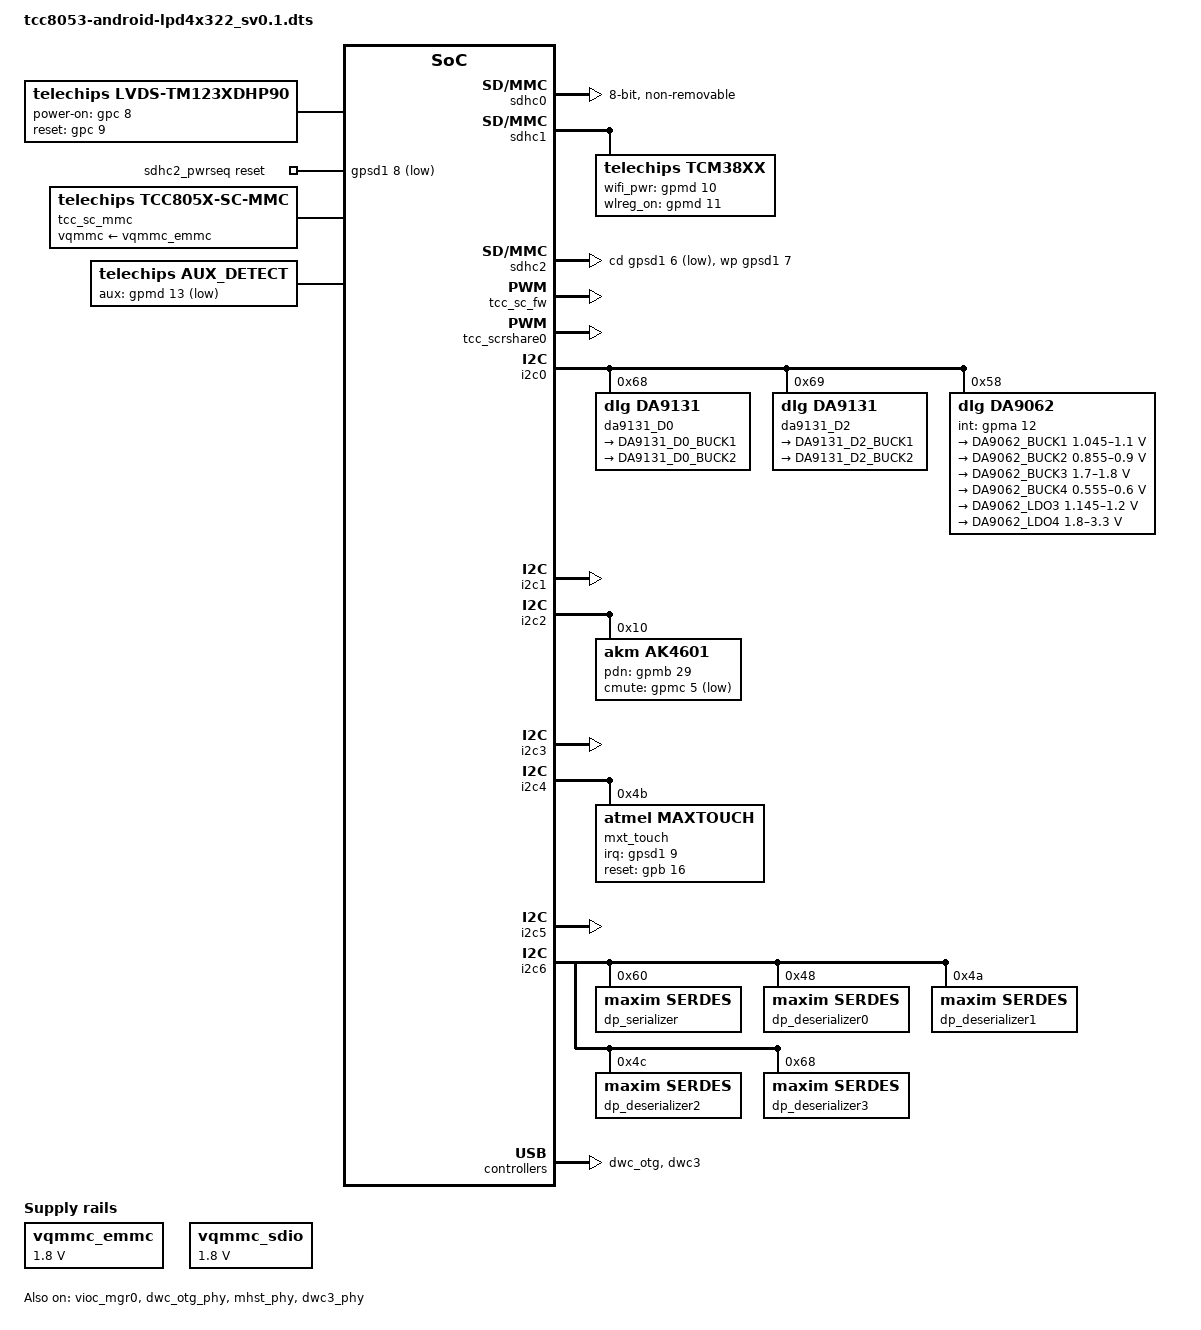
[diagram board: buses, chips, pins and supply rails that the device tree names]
// SPDX-License-Identifier: (GPL-2.0-or-later OR MIT)
/*
 * Copyright (C) Telechips Inc.
 * Device tree for Telechips TCC8053 AVN board
 */

#ifndef DT_OVERLAY
/dts-v1/;
#endif

#include "tcc8053-android-avn.dtsi"

/* Definition for H/W LCD ports */
#define LCD_PORT1_PWR "gpmc-19"
#define LCD_PORT1_RST "gpmc-20"
#define LCD_PORT1_BLK "gph-6"

#define LCD_PORT2_PWR "gpc-8"
#define LCD_PORT2_RST "gpc-9"
#define LCD_PORT2_BLK "gph-7"

#define LCD_PORT3_PWR "gpmc-2"
#define LCD_PORT3_RST "gpmc-18"
#define LCD_PORT3_BLK "gpe-15"

#define LCD_PORT4_PWR "gpmb-25"
#define LCD_PORT4_RST "gpmb-19"
#define LCD_PORT4_BLK "gpmc-21"

#include "tcc8053-android-avn-display.dtsi"

/ {
	/* Describe here after remove this statement if you have something to be override. */
	tm123xdhp90 {
		compatible = "telechips,lvds-tm123xdhp90";
		status = "okay";
		lvds0 = <&lvds_phy>;
		power-on-gpios = <&gpc 8 0>;   // LCD_ON
		reset-gpios = <&gpc 9 0>;    // LCD_RST
		/*
			 display-on-gpios = ;    // LCD_DISP
			 lvds-stby-gpios = ;   // LCD_DE = LVDS_STBY in LVDS
			 lvds-power-gpios = ;    // LVDS_EN
			 lvds-power-gpios1 = ;   // V_5V0_EN
		 */
		mode = <1>;   /* 0: single 1: dual */
		ports = <2 3>;
		mux-select = <2>;
	};

	vqmmc_emmc: vqmmc_emmc {
		compatible = "regulator-fixed";
		regulator-name = "vqmmc_emmc";
		regulator-min-microvolt = <1800000>;
		regulator-max-microvolt = <1800000>;
		regulator-always-on;
	};

	sdhc2_pwrseq: sdhc2_pwrseq {
		compatible = "mmc-pwrseq-simple";
		reset-gpios = <&gpsd1 8 GPIO_ACTIVE_LOW>;
	};

	vqmmc_sdio: vqmmc_sdio {
		compatible = "regulator-fixed";
		regulator-name = "vqmmc_sdio";
		regulator-min-microvolt = <1800000>;
		regulator-max-microvolt = <1800000>;
		regulator-always-on;
	};

	tcc_sc_mmc: tcc_sc_mmc {
		compatible = "telechips,tcc805x-sc-mmc";
		status = "okay";

		max-frequency = <200000000>;
		bus-width = <8>;

		sc-firmware = <&tcc_sc_fw>;

		no-sdio;
		no-sd;
		non-removable;
		keep-power-in-suspend;
		disable-wp;

		mmc-hs400-1_8v;
		vqmmc-supply = <&vqmmc_emmc>;
	};

	tcc_sc_ufs: tcc_sc_ufs {
		compatible = "telechips,tcc805x-sc-ufs";
		status = "okay";
		sc-firmware = <&tcc_sc_fw>;
	};

	aux_detect {
		compatible = "telechips,aux_detect";
		status = "okay";

		pinctrl-names = "default";
		pinctrl-0 = <&aux_detect_pin>;

		aux-gpios = <&gpmd 13 1>;
		aux-active = <1>;
	};
};

/* eMMC */
&sdhc0 {
	bus-width = <8>;
	pinctrl-names = "default";
	pinctrl-0 = <&sd0_clk &sd0_cmd &sd0_bus8 &sd0_strb>;

	sdhci-caps-mask = <0x7 0x0>;

	non-removable;
	keep-power-in-suspend;
	disable-wp;
	cap-mmc-hw-reset;

	mmc-hs400-1_8v;
	tcc-mmc-taps = <0xF 0xF 0xF 0xF>;
	tcc-mmc-hs400-pos-tap = <0x6>;
	tcc-mmc-hs400-neg-tap = <0xB>;

	tcc-mmc-reset = <&gpsd0 14 0>;

	vqmmc-supply = <&vqmmc_emmc>;
};

&sd0_clk {
	telechips,no-pull;
};

&sd0_cmd {
	telechips,no-pull;
};

&sd0_bus8 {
	telechips,no-pull;
};

/* SDIO */
&sdhc1 {
	status = "okay";
	pinctrl-names = "default";
	pinctrl-0 = <&sd1_clk &sd1_cmd &sd1_bus4 &out0_clk>;

	keep-power-in-suspend;
	cap-sdio-irq;

	vqmmc-supply = <&vqmmc_sdio>;

	cd-force-presence-change;

	tcm38xx {
		compatible = "telechips,tcm38xx";
		wifi_pwr-gpio = <&gpmd 10 0>; /* BT_WIFI_VBAT_EN */
		wlreg_on-gpio = <&gpmd 11 0>; /* WIFI_REG_ON */
		//wifi_pwr_1p8v-gpio = <&gpsd1 6 0>;
		//wifi_pwr_3p3v-gpio = <&gpsd1 7 0>;
	};
};

&sd1_clk {
	telechips,pull-up;
};

&sd1_cmd {
	telechips,pull-up;
};

&sd1_bus4 {
	telechips,pull-up;
};

/* SD slot */
&sdhc2 {
#ifdef CONFIG_MMC_SDHCI_TCC_MODULE_ONLY
	/*
	 * In order to reduce boot time,
	 * we use the driver as module not built-in.
	 */
	compatible = "telechips,tcc805x-sdhci,module-only";
#endif
	status = "okay";
	pinctrl-names = "default";
	pinctrl-0 = <&sd2_clk &sd2_cmd &sd2_bus4 &sd1_bus4_wp_cd &sd1_pwr>;

	broken-cd;
	cd-inverted;
	keep-power-in-suspend;

	wp-gpios = <&gpsd1 7 0>;
	cd-gpios = <&gpsd1 6 0>;

	mmc-pwrseq = <&sdhc2_pwrseq>;
	vqmmc-supply = <&DA9062_LDO4>;
};

&sd2_clk {
	telechips,no-pull;
};

&sd2_cmd {
	telechips,no-pull;
};

&sd2_bus4 {
	telechips,no-pull;
};

&a72_sc_mbox {
	status = "okay";
};

&tcc_sc_fw {
	status = "okay";
	mboxes = <&a72_sc_mbox 0>;
};

&tcc_scrshare0{
        status = "okay";
};

&vioc_mgr0 {
        status = "okay";
};

&rotary_encoder0 {
	compatible = "rotary-encoder";
	status = "disable";                 //To use it, change the status from disable to okay
	//pinctrl-names = "default";
	//pinctrl-0 = <&mc_vol>;			//Set gpio to match device
										//Interruptable gpio should be used
	//gpios = <&gpma 5 1>, <&gpma 6 1>;	//Set gpio to match device
										//Interruptable gpio should be used
	linux,axis = <0>;
	rotary-encoder,relative-axis;
};

&rotary_encoder1 {
	compatible = "rotary-encoder";
	status = "disable";                 //To use it, change the status from disable to okay
	//pinctrl-names = "default";
	//pinctrl-0 = <&mc_ctr>;			//Set gpio to match device
										//Interruptable gpio should be used
	//gpios = <&gpma 7 1>, <&gpma 8 1>;	//Set gpio to match device
										//Interruptable gpio should be used
	linux,axis = <0>;
	rotary-encoder,relative-axis;
};

&i2c0 {
	status = "okay";
	port-mux = <22>;
	pinctrl-names = "default";
	pinctrl-0 = <&i2c22_bus>;

	/* pmic da9131-D0 */
	da9131_D0: pmic@68 {
		compatible = "dlg,da9131";
		reg = <0x68>;

		regulators {
			DA9131_D0_BUCK1: buck1 {
				regulator-name = "core_0p8";
				regulator-always-on;
				regulator-boot-on;
			};

			DA9131_D0_BUCK2: buck2 {
				regulator-name = "gb_0p8";
				regulator-always-on;
				regulator-boot-on;
			};
		};
	}; /* pmic da9131-D0 */

	/* pmic da9131-D2 */
	da9131_D2: pmic@69 {
		compatible = "dlg,da9131";
		reg = <0x69>;

		regulators {
			DA9131_D2_BUCK1: buck1 {
				regulator-name = "cpu_1p0";
				regulator-always-on;
				regulator-boot-on;
			};

			DA9131_D2_BUCK2: buck2 {
				regulator-name = "io_3p3";
				regulator-always-on;
				regulator-boot-on;
			};
		};
	}; /* pmic da9131-D2 */

	da9062: pmic@58 {
		compatible = "dlg,da9062";
		reg = <0x58>;
		int-gpios = <&gpma 12 0>;

		da9062_gpio: gpio {
			compatible = "dlg,da9062-gpio";
			gpio-controller;
			#gpio-cells = <2>;
		};

		regulators {
			DA9062_BUCK1: buck1 {
				regulator-name = "memq_1p1";
				regulator-min-microvolt = <1045000>;
				regulator-max-microvolt = <1100000>;
				regulator-always-on;
				regulator-boot-on;
			};

			DA9062_BUCK2: buck2 {
				regulator-name = "cpu_0p9v";
				regulator-min-microvolt = <855000>;
				regulator-max-microvolt = <900000>;
				regulator-always-on;
				regulator-boot-on;
			};

			DA9062_BUCK3: buck3 {
				regulator-name = "io_1p8";
				regulator-min-microvolt = <1700000>;
				regulator-max-microvolt = <1800000>;
				regulator-always-on;
				regulator-boot-on;
			};

			DA9062_BUCK4: buck4 {
				regulator-name = "memq_0p6";
				regulator-min-microvolt = <555000>;
				regulator-max-microvolt = <600000>;
				regulator-always-on;
				regulator-boot-on;
			};
#if 0
			/* Temp block for LDO2. Block min-microvolt of LDO2 */
			DA9062_LDO2: ldo2 {
				regulator-name = "mem_1p8";
				regulator-min-microvolt = <1700000>;
				regulator-max-microvolt = <1800000>;
				regulator-always-on;
				regulator-boot-on;
			};
#endif
			DA9062_LDO3: ldo3 {
				regulator-name = "mipi_1p2";
				regulator-min-microvolt = <1145000>;
				regulator-max-microvolt = <1200000>;
				regulator-always-on;
				regulator-boot-on;
			};

			DA9062_LDO4: ldo4 {
				regulator-name = "sdio_pwr";
				regulator-min-microvolt = <1800000>;
				regulator-max-microvolt = <3300000>;
				regulator-always-on;
				regulator-boot-on;
			};
		};
	}; /* pmic da9062 */
};

&i2c1 {
	status = "okay";
	port-mux = <10>; /* [0]SCL [1]SDA */
	pinctrl-names = "default";
	pinctrl-0 = <&i2c10_bus>;
};

&i2c2 {
	status = "okay";
	port-mux = <30>; /* [0]SCL [1]SDA */
	pinctrl-names = "default";
	pinctrl-0 = <&i2c30_bus>;
	ak4601: ak4601@10 {
		compatible = "akm,ak4601";
		ak4601,pdn-gpio = <&gpmb 29 0>;
		cmute-gpios = <&gpmc 5 1>;     //CODEC_MUTE    0: active high, 1: active low
		//amute-gpios = <&gpma 1 1>;       //AMP_MUTE      0: active high, 1: active low
		//stanby-gpios = <&gpma 2 0>;     //AMP_STBY      0: active high, 1: active low
		reg = <0x10>;
	};
};

&i2c3 {
	status = "okay";
	port-mux = <11>; /* [0]SCL [1]SDA */
	pinctrl-names = "default";
	pinctrl-0 = <&i2c11_bus>;
};

&i2c4 {
	status = "okay";
	port-mux = <6>; /* [0]SCL [1]SDA */
	pinctrl-names = "default";
	pinctrl-0 = <&i2c6_bus>;

	mxt_touch@4b {
		compatible = "atmel,maxtouch";
		status = "okay";
		reg = <0x4b>;
		pinctrl-names = "default";
		pinctrl-0 = <&tsc0_default>;
		irq-gpios = <&gpsd1 9 0x0>;
		reset-gpios = <&gpb 16 0x0>;
	};
};

&i2c5 {
	status = "okay";
	port-mux = <33>; /* [0]SCL [1]SDA */
	pinctrl-names = "default";
	pinctrl-0 = <&i2c33_bus>;

	mxt_touch@4d {
		compatible = "atmel,maxtouch";
		status = "disabled";
		reg = <0x4d>;
		pinctrl-names = "default";
		pinctrl-0 = <&tsc1_default>;
		irq-gpios = <&gpa 21 0x0>;
		reset-gpios = <&gpmd 8 0x0>;
	};

	mxt_touch@4f {
		compatible = "atmel,maxtouch";
		status = "disabled";
		reg = <0x4f>;
		pinctrl-names = "default";
		pinctrl-0 = <&tsc2_default>;
		irq-gpios = <&gpc 13 0x0>;
		reset-gpios = <&gpc 12 0x0>;
	};
};

&i2c6 {
		status = "okay";
		port-mux = <37>;
		pinctrl-names = "default";
		pinctrl-0 = <&i2c37_bus>;

		dp_serializer:max96851@60 {
			compatible	= "maxim,serdes";
			reg		= <0x60>;
		};

		dp_deserializer0:max96878@48 {
			compatible	= "maxim,serdes";
			reg		= <0x48>;
		};

		dp_deserializer1:max96878@4A {
			compatible	= "maxim,serdes";
			reg		= <0x4A>;
		};

		dp_deserializer2:max96878@4C {
			compatible	= "maxim,serdes";
			reg		= <0x4C>;
		};

		dp_deserializer3:max96878@68 {
			compatible	= "maxim,serdes";
			reg		= <0x68>;
		};
};

&max968xx_config {
	compatible = "telechips,max968xx_configuration";
	max968xx_evb_type = <1>; /* 0: TCC8059 EVB, 1: TCC8050/3 sv0.1, 2:TCC8050/3 sv1.0 */
	max96851_lane_02_13_swap = <1>;

	pinctrl-names = "default", "default";
	pinctrl-0 = <&serdes_intb_sv01>;
	pinctrl-1 = <&serdes_lock>;
};

/* USB 2.0 Host */
&ehci_phy {
	status = "disabled";
	vbus-ctrl-able;
	vbus-gpio = <&gpmc 7 0>; /* 0 : GPIO_ACTIVE_HIGH, 1 : GPIO_ACTIVE_LOW */
};

&ehci {
	status = "disabled";
	hcd_id = <0>;
	phy-type = <1>; /* 0 : Nano PHY, 1 : Pico PHY */
	TXVRT = <0xB>;
	TXRISET = <0x3>;
	TXAT = <0x1>;
};

&ohci {
	status = "disabled";
};

/* USB 2.0 DRD */
&dwc_otg_phy {
	status = "okay";
	vbus-ctrl-able;
	vbus-gpio = <&gpmc 6 0>; /* 0 : GPIO_ACTIVE_HIGH, 1 : GPIO_ACTIVE_LOW */
};

&mhst_phy {
	status = "okay";
};

&dwc_otg {
	status = "okay";
	phy-type = <1>; /* 0 : Nano PHY, 1 : Pico PHY */
};

/* USB 3.0 DRD */
&dwc3_phy {
	status = "okay";
	vbus-ctrl-able;
	vbus-gpio = <&gpmc 8 0>; /* 0 : GPIO_ACTIVE_HIGH, 1 : GPIO_ACTIVE_LOW */
};

&dwc3 {
	status = "okay";
};

&aux_detect_pin {
	telechips,pins = "gpmd-13";
};
